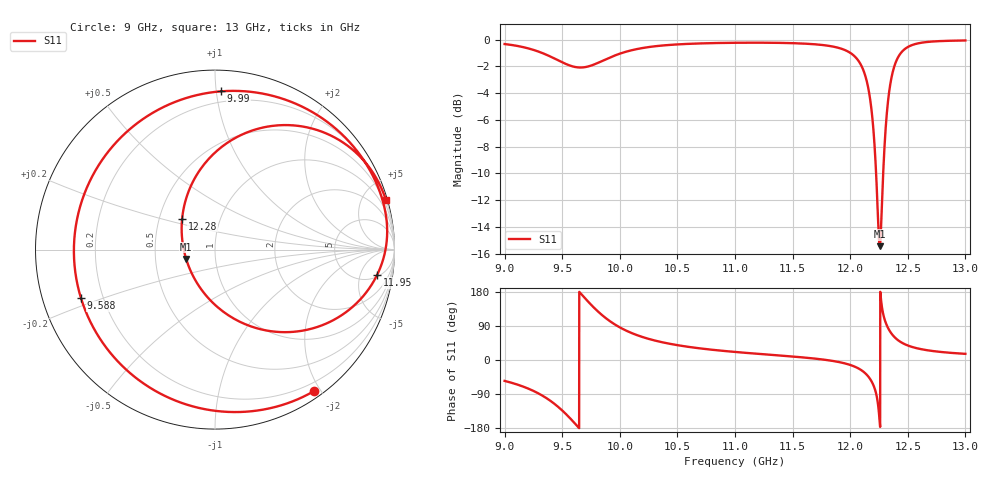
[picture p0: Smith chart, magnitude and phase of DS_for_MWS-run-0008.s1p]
! TOUCHSTONE file generated by CST DESIGN STUDIO
! Date and time: Tue Feb  4 17:09:46 2025
! Project name: C:\Work\MatlabApps\UnitCellOptimizationMatlab\CST\unitcell.cst
! Tree item: Tasks\Sweep1\SPara1\S-Parameters
! Header version: 2024
! Port assignment regex: !\s*Touchstone port\s*([0-9]+)\s*=\s*(CST MWS port|CST DES external port|CST DES block port)\s*(.+)\s* \(\"(.*)\"\)(\s*mode\s*([0-9]+))?.*
! Touchstone port assignment:
! Touchstone port 1 = CST DES external port 1 ("")
# GHz S MA R 50
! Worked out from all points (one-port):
!   4001 points, 9 GHz to 13 GHz, reference 50 ohm
!   lowest |S11| = -15.4 dB at 12.26 GHz (marker M1), VSWR 1.41, Z = 36 - j3.84 ohm
!   |S11| at or under -10 dB: 12.22 GHz to 12.29 GHz (61.51 MHz wide, 0.502 % of centre)
!   S11 on the Smith chart (normalised r, x): 9 GHz: 0.09, -1.91; 9.588 GHz: 0.12, -0.17; 9.99 GHz: 0.13, +1.03; 11.95 GHz: 6, -10; 12.28 GHz: 0.66, +0.24; 13 GHz: 0.20, +7.00
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9  0.9619 -55.1
9.159  0.9372 -70.0
9.311  0.896 -91.1
9.411  0.8584 -110.7
9.5  0.8222 -133.2
9.588  0.7941 -160.1
9.69  0.7876 165.6
9.804  0.816 129.8
9.891  0.8483 107.6
9.99  0.8824 87.8
10  0.8854 86.1
10.22  0.933 58.4
10.5  0.9589 39.2
11  0.9725 21.3
11.5  0.9692 9.2
11.952  0.9144 -8.8
12  0.892 -13.0
12.103  0.7885 -28.2
12.178  0.5779 -52.5
12.218  0.3607 -80.5
12.256  0.1689 -162.1
12.277  0.2513 136.8
12.317  0.5239 91.9
12.356  0.7119 70.7
12.421  0.8667 50.9
12.5  0.9376 38.3
12.673  0.9797 25.6
13  0.9921 16.3
